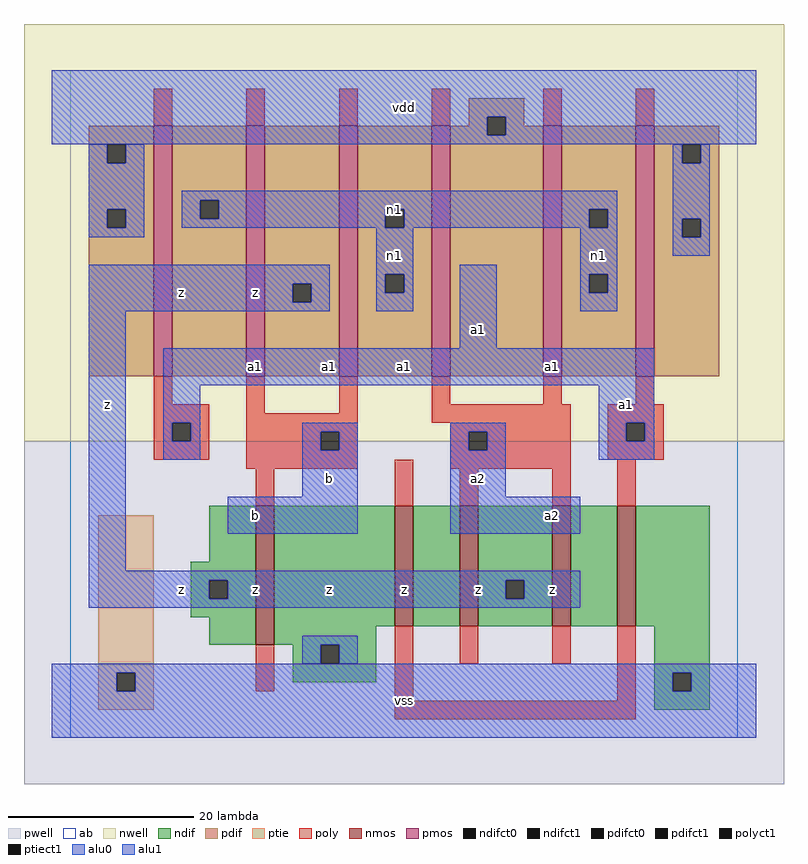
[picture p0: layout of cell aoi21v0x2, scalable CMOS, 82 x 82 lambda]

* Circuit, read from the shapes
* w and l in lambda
.subckt aoi21v0x2 a1 a2 b n1 vdd vss z
M1 vss b z vss nfet w=15 l=2
M2 n2 a1 vss vss nfet w=13 l=2
M3 z a2 n2 vss nfet w=13 l=2
M4 n3 a2 z vss nfet w=13 l=2
M5 vss a1 n3 vss nfet w=13 l=2
M6 n1 a1 vdd n4 pfet w=27 l=2 m=2
M7 z b n1 n4 pfet w=27 l=2 m=2
M8 vdd a2 n1 n4 pfet w=27 l=2 m=2
.ends

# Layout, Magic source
magic
tech scmos
<< ab >>
rect 0 0 72 72
<< nwell >>
rect -5 32 77 77
<< pwell >>
rect -5 -5 77 32
<< poly >>
rect 9 66 11 70
rect 19 66 21 70
rect 29 66 31 70
rect 39 66 41 70
rect 51 66 53 70
rect 61 66 63 70
rect 9 36 11 39
rect 9 34 15 36
rect 9 32 11 34
rect 13 32 15 34
rect 9 30 15 32
rect 19 35 21 39
rect 29 35 31 39
rect 19 33 31 35
rect 39 36 41 39
rect 51 36 53 39
rect 61 36 63 39
rect 39 34 54 36
rect 19 31 27 33
rect 29 31 31 33
rect 19 29 31 31
rect 41 33 54 34
rect 41 31 43 33
rect 45 31 54 33
rect 20 25 22 29
rect 35 25 37 30
rect 41 29 54 31
rect 58 34 64 36
rect 58 32 60 34
rect 62 32 64 34
rect 58 30 64 32
rect 42 25 44 29
rect 52 25 54 29
rect 59 25 61 30
rect 20 5 22 10
rect 35 4 37 12
rect 42 8 44 12
rect 52 8 54 12
rect 59 4 61 12
rect 35 2 61 4
<< ndif >>
rect 15 19 20 25
rect 13 17 20 19
rect 13 15 15 17
rect 17 15 20 17
rect 13 13 20 15
rect 15 10 20 13
rect 22 12 35 25
rect 37 12 42 25
rect 44 17 52 25
rect 44 15 47 17
rect 49 15 52 17
rect 44 12 52 15
rect 54 12 59 25
rect 61 12 69 25
rect 22 10 33 12
rect 24 8 27 10
rect 29 8 33 10
rect 24 6 33 8
rect 63 7 69 12
rect 63 5 65 7
rect 67 5 69 7
rect 63 3 69 5
<< pdif >>
rect 43 67 49 69
rect 43 66 45 67
rect 2 64 9 66
rect 2 62 4 64
rect 6 62 9 64
rect 2 57 9 62
rect 2 55 4 57
rect 6 55 9 57
rect 2 39 9 55
rect 11 58 19 66
rect 11 56 14 58
rect 16 56 19 58
rect 11 39 19 56
rect 21 49 29 66
rect 21 47 24 49
rect 26 47 29 49
rect 21 39 29 47
rect 31 57 39 66
rect 31 55 34 57
rect 36 55 39 57
rect 31 50 39 55
rect 31 48 34 50
rect 36 48 39 50
rect 31 39 39 48
rect 41 65 45 66
rect 47 66 49 67
rect 47 65 51 66
rect 41 39 51 65
rect 53 57 61 66
rect 53 55 56 57
rect 58 55 61 57
rect 53 50 61 55
rect 53 48 56 50
rect 58 48 61 50
rect 53 39 61 48
rect 63 64 70 66
rect 63 62 66 64
rect 68 62 70 64
rect 63 56 70 62
rect 63 54 66 56
rect 68 54 70 56
rect 63 39 70 54
<< alu1 >>
rect -2 67 74 72
rect -2 65 45 67
rect 47 65 74 67
rect -2 64 74 65
rect 2 49 28 51
rect 2 47 24 49
rect 26 47 28 49
rect 2 46 28 47
rect 2 18 6 46
rect 42 42 46 51
rect 10 38 63 42
rect 10 34 14 38
rect 57 34 63 38
rect 10 32 11 34
rect 13 32 14 34
rect 10 30 14 32
rect 25 33 31 34
rect 25 31 27 33
rect 29 31 31 33
rect 25 26 31 31
rect 17 22 31 26
rect 41 33 47 34
rect 41 31 43 33
rect 45 31 47 33
rect 41 26 47 31
rect 57 32 60 34
rect 62 32 63 34
rect 57 30 63 32
rect 41 22 55 26
rect 2 17 55 18
rect 2 15 15 17
rect 17 15 47 17
rect 49 15 55 17
rect 2 14 55 15
rect -2 7 74 8
rect -2 5 5 7
rect 7 5 65 7
rect 67 5 74 7
rect -2 0 74 5
<< ptie >>
rect 3 7 9 24
rect 3 5 5 7
rect 7 5 9 7
rect 3 3 9 5
<< nmos >>
rect 20 10 22 25
rect 35 12 37 25
rect 42 12 44 25
rect 52 12 54 25
rect 59 12 61 25
<< pmos >>
rect 9 39 11 66
rect 19 39 21 66
rect 29 39 31 66
rect 39 39 41 66
rect 51 39 53 66
rect 61 39 63 66
<< polyct1 >>
rect 11 32 13 34
rect 27 31 29 33
rect 43 31 45 33
rect 60 32 62 34
<< ndifct0 >>
rect 27 8 29 10
<< ndifct1 >>
rect 15 15 17 17
rect 47 15 49 17
rect 65 5 67 7
<< ptiect1 >>
rect 5 5 7 7
<< pdifct0 >>
rect 4 62 6 64
rect 4 55 6 57
rect 14 56 16 58
rect 34 55 36 57
rect 34 48 36 50
rect 56 55 58 57
rect 56 48 58 50
rect 66 62 68 64
rect 66 54 68 56
<< pdifct1 >>
rect 24 47 26 49
rect 45 65 47 67
<< alu0 >>
rect 2 62 4 64
rect 6 62 8 64
rect 2 57 8 62
rect 65 62 66 64
rect 68 62 69 64
rect 2 55 4 57
rect 6 55 8 57
rect 12 58 59 59
rect 12 56 14 58
rect 16 57 59 58
rect 16 56 34 57
rect 12 55 34 56
rect 36 55 56 57
rect 58 55 59 57
rect 2 54 8 55
rect 33 50 37 55
rect 33 48 34 50
rect 36 48 37 50
rect 33 46 37 48
rect 55 50 59 55
rect 65 56 69 62
rect 65 54 66 56
rect 68 54 69 56
rect 65 52 69 54
rect 55 48 56 50
rect 58 48 59 50
rect 55 46 59 48
rect 25 10 31 11
rect 25 8 27 10
rect 29 8 31 10
<< labels >>
rlabel alu0 35 52 35 52 6 n1
rlabel alu0 57 52 57 52 6 n1
rlabel alu0 35 57 35 57 6 n1
rlabel alu1 12 16 12 16 6 z
rlabel alu1 4 36 4 36 6 z
rlabel alu1 12 48 12 48 6 z
rlabel alu1 28 16 28 16 6 z
rlabel alu1 20 16 20 16 6 z
rlabel alu1 20 24 20 24 6 b
rlabel alu1 28 28 28 28 6 b
rlabel alu1 28 40 28 40 6 a1
rlabel alu1 20 40 20 40 6 a1
rlabel alu1 20 48 20 48 6 z
rlabel alu1 36 4 36 4 6 vss
rlabel alu1 52 16 52 16 6 z
rlabel alu1 44 16 44 16 6 z
rlabel alu1 36 16 36 16 6 z
rlabel alu1 44 28 44 28 6 a2
rlabel alu1 52 24 52 24 6 a2
rlabel alu1 52 40 52 40 6 a1
rlabel alu1 36 40 36 40 6 a1
rlabel alu1 44 44 44 44 6 a1
rlabel alu1 36 68 36 68 6 vdd
rlabel alu1 60 36 60 36 6 a1
<< end >>
